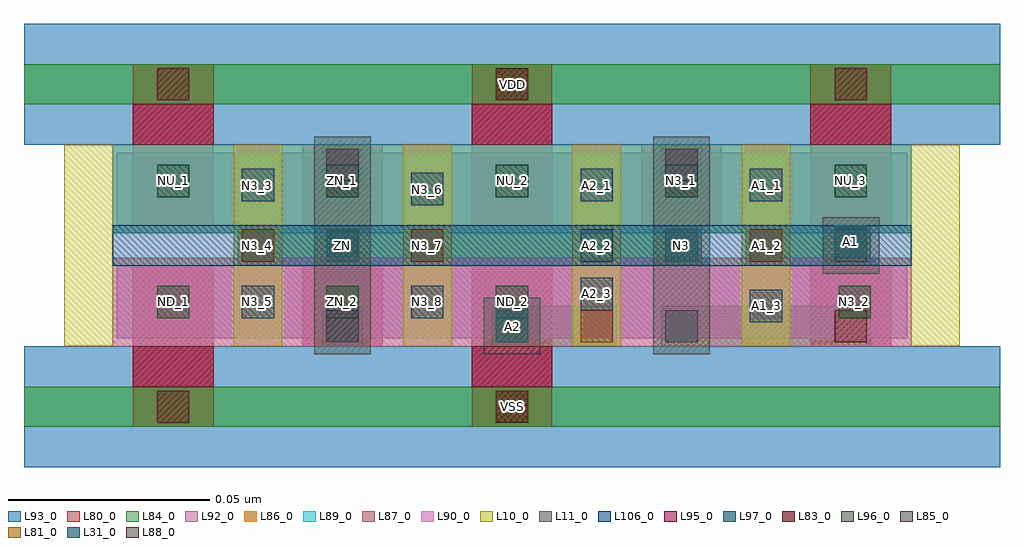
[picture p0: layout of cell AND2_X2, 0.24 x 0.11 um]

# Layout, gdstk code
import gdstk
lib = gdstk.Library(unit=1e-6, precision=1e-09)
def R(c, l, rs):  # rectangles x0, y0, x1, y1
    for r in rs: c.add(gdstk.rectangle(r[:2], r[2:], *l))
def A(c, l, x, y, w, h, nx, ny, dx, dy):  # array of equal rectangles
    R(c, l, [(x+i*dx, y+j*dy, x+i*dx+w, y+j*dy+h) for i in range(nx) for j in range(ny)])
L10_0 = (10, 0)
L11_0 = (11, 0)
L31_0 = (31, 0)
L80_0 = (80, 0)
L81_0 = (81, 0)
L83_0 = (83, 0)
L84_0 = (84, 0)
L85_0 = (85, 0)
L86_0 = (86, 0)
L87_0 = (87, 0)
L88_0 = (88, 0)
L89_0 = (89, 0)
L90_0 = (90, 0)
L92_0 = (92, 0)
L93_0 = (93, 0)
L95_0 = (95, 0)
L96_0 = (96, 0)
L97_0 = (97, 0)
L106_0 = (106, 0)

and2_x2 = lib.new_cell('AND2_X2')
A(and2_x2, L10_0, -0.027, 0.015, 0.012, 0.05, 6, 1, 0.042, 0)
R(and2_x2, L11_0, [(0.035,0.013,0.049,0.047), (0.077,0.013,0.091,0.027), (0.119,0.013,0.133,0.047), (0.035,0.033,0.049,0.067), (0.119,0.033,0.133,0.067), (0.161,0.033,0.175,0.047)])
R(and2_x2, L31_0, [(0.08,0.016,0.088,0.024), (0.038,0.036,0.046,0.044), (0.122,0.036,0.13,0.044), (0.164,0.037,0.172,0.045)])
A(and2_x2, L80_0, -0.01, 0.015, 0.02, 0.02, 3, 1, 0.042, 0)
A(and2_x2, L80_0, -0.01, 0.056, 0.02, 0.029, 3, 1, 0.084, 0)
R(and2_x2, L80_0, [(-0.01,-0.005,0.01,0.016), (0.074,-0.005,0.094,0.016), (0.158,0.015,0.178,0.035), (-0.01,0.045,0.01,0.065), (-0.01,0.045,0.01,0.065), (0.032,0.045,0.052,0.065), (0.032,0.045,0.052,0.065), (0.074,0.045,0.094,0.065), (0.074,0.045,0.094,0.065), (0.116,0.045,0.136,0.065), (0.116,0.045,0.136,0.065), (0.158,0.045,0.178,0.065), (0.158,0.045,0.178,0.065)])
R(and2_x2, L81_0, [(0.101,0.016,0.109,0.024), (0.017,0.036,0.025,0.044), (0.059,0.036,0.067,0.044), (0.143,0.036,0.151,0.044)])
A(and2_x2, L83_0, -0.004, 0.076, 0.008, 0.008, 3, 1, 0.084, 0)
R(and2_x2, L83_0, [(-0.004,-0.004,0.004,0.004), (0.08,-0.004,0.088,0.004), (0.038,0.016,0.046,0.024), (0.164,0.016,0.172,0.024), (0.038,0.056,0.046,0.064), (0.122,0.056,0.13,0.064)])
A(and2_x2, L84_0, 0.016, 0.035, 0.031, 0.01, 5, 1, 0.021, 0)
R(and2_x2, L84_0, [(-0.037,-0.005,0.205,0.005), (0.037,0.015,0.047,0.025), (0.079,0.015,0.11,0.025), (0.121,0.015,0.152,0.025), (0.142,0.015,0.173,0.025), (0.142,0.035,0.173,0.045), (0.037,0.055,0.047,0.065), (0.121,0.055,0.131,0.065), (-0.037,0.075,0.205,0.085)])
A(and2_x2, L85_0, 0.038, 0.016, 0.008, 0.008, 3, 1, 0.042, 0)
R(and2_x2, L85_0, [(0.122,0.036,0.13,0.044), (0.164,0.036,0.172,0.044), (0.038,0.056,0.046,0.064), (0.122,0.056,0.13,0.064)])
R(and2_x2, L86_0, [(-0.015,0.043,0.183,0.065)])
R(and2_x2, L87_0, [(-0.015,0.015,0.183,0.037)])
R(and2_x2, L88_0, [(0.08,-0.004,0.088,0.004), (0.08,0.076,0.088,0.084)])
R(and2_x2, L89_0, [(-0.015,0.043,0.183,0.065)])
R(and2_x2, L90_0, [(-0.015,0.015,0.183,0.037)])
R(and2_x2, L92_0, [(-0.014,0.017,0.182,0.035), (-0.014,0.045,0.182,0.063)])
R(and2_x2, L93_0, [(-0.037,-0.015,0.205,0.015), (-0.037,0.065,0.205,0.095)])
A(and2_x2, L95_0, -0.01, 0.065, 0.02, 0.01, 3, 1, 0.084, 0)
R(and2_x2, L95_0, [(-0.01,0.005,0.01,0.015), (0.074,0.005,0.094,0.015)])
A(and2_x2, L96_0, -0.004, 0.022, 0.008, 0.008, 3, 1, 0.042, 0)
A(and2_x2, L96_0, -0.004, 0.052, 0.008, 0.008, 5, 1, 0.042, 0)
R(and2_x2, L96_0, [(0.165,0.022,0.173,0.03)])
A(and2_x2, L97_0, 0.017, 0.036, 0.008, 0.008, 4, 1, 0.042, 0)
R(and2_x2, L97_0, [(0.143,0.021,0.151,0.029), (0.017,0.022,0.025,0.03), (0.059,0.022,0.067,0.03), (0.101,0.024,0.109,0.032), (0.059,0.05,0.067,0.058), (0.017,0.051,0.025,0.059), (0.101,0.051,0.109,0.059), (0.143,0.051,0.151,0.059)])
R(and2_x2, L106_0, [(-0.015,0.035,0.183,0.045)])
and2_x2.add(gdstk.Label('N3_2', (0.169,0.026), layer=96, texttype=0))
and2_x2.add(gdstk.Label('N3_1', (0.126,0.056), layer=96, texttype=0))
and2_x2.add(gdstk.Label('ZN_2', (0.042,0.026), layer=96, texttype=0))
and2_x2.add(gdstk.Label('ZN_1', (0.042,0.056), layer=96, texttype=0))
and2_x2.add(gdstk.Label('ND_2', (0.084,0.026), layer=96, texttype=0))
and2_x2.add(gdstk.Label('ND_1', (0,0.026), layer=96, texttype=0))
and2_x2.add(gdstk.Label('NU_3', (0.168,0.056), layer=96, texttype=0))
and2_x2.add(gdstk.Label('NU_2', (0.084,0.056), layer=96, texttype=0))
and2_x2.add(gdstk.Label('NU_1', (0,0.056), layer=96, texttype=0))
and2_x2.add(gdstk.Label('A1', (0.168,0.041), layer=31, texttype=0))
and2_x2.add(gdstk.Label('N3', (0.126,0.04), layer=31, texttype=0))
and2_x2.add(gdstk.Label('A2', (0.084,0.02), layer=31, texttype=0))
and2_x2.add(gdstk.Label('ZN', (0.042,0.04), layer=31, texttype=0))
and2_x2.add(gdstk.Label('A1_3', (0.147,0.025), layer=97, texttype=0))
and2_x2.add(gdstk.Label('A1_2', (0.147,0.04), layer=97, texttype=0))
and2_x2.add(gdstk.Label('A1_1', (0.147,0.055), layer=97, texttype=0))
and2_x2.add(gdstk.Label('A2_1', (0.105,0.055), layer=97, texttype=0))
and2_x2.add(gdstk.Label('A2_2', (0.105,0.04), layer=97, texttype=0))
and2_x2.add(gdstk.Label('A2_3', (0.105,0.028), layer=97, texttype=0))
and2_x2.add(gdstk.Label('N3_8', (0.063,0.026), layer=97, texttype=0))
and2_x2.add(gdstk.Label('N3_7', (0.063,0.04), layer=97, texttype=0))
and2_x2.add(gdstk.Label('N3_6', (0.063,0.054), layer=97, texttype=0))
and2_x2.add(gdstk.Label('N3_5', (0.021,0.026), layer=97, texttype=0))
and2_x2.add(gdstk.Label('N3_4', (0.021,0.04), layer=97, texttype=0))
and2_x2.add(gdstk.Label('N3_3', (0.021,0.055), layer=97, texttype=0))
and2_x2.add(gdstk.Label('VDD', (0.084,0.08), layer=88, texttype=0))
and2_x2.add(gdstk.Label('VSS', (0.084,0), layer=88, texttype=0))

lib.write_gds('AND2_X2.gds')
